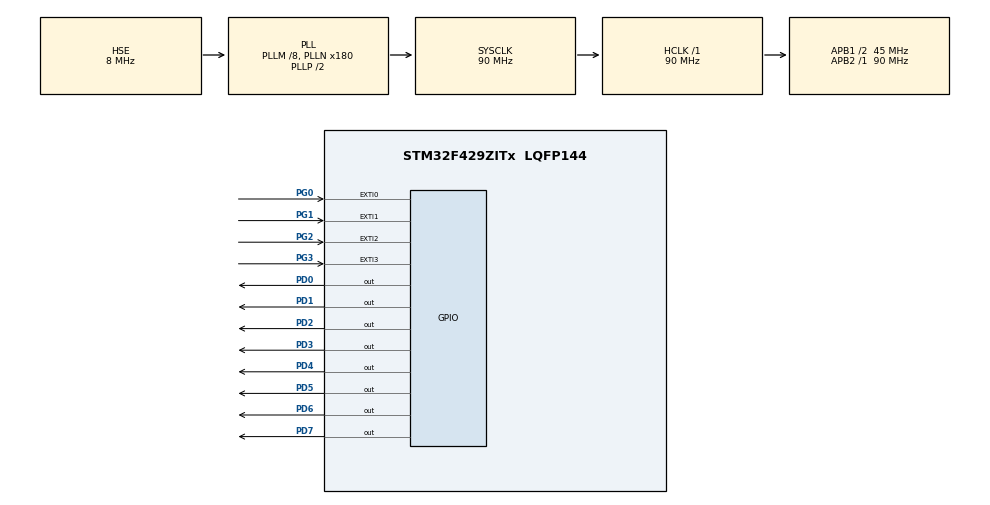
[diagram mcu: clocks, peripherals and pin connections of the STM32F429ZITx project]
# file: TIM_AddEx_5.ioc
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Mcu.Family=STM32F4
Mcu.Name=STM32F429ZITx
Mcu.Package=LQFP144
NVIC.EXTI0_IRQn=true\:0\:0\:false\:false\:true\:true\:true\:true
NVIC.EXTI1_IRQn=true\:0\:0\:false\:false\:true\:true\:true\:true
NVIC.EXTI2_IRQn=true\:0\:0\:false\:false\:true\:true\:true\:true
NVIC.EXTI3_IRQn=true\:0\:0\:false\:false\:true\:true\:true\:true
NVIC.PriorityGroup=NVIC_PRIORITYGROUP_4
NVIC.TIM2_IRQn=true\:0\:0\:false\:false\:true\:true\:true\:true
PA13.Mode=Serial_Wire
PA13.Signal=SYS_JTMS-SWDIO
PA14.Mode=Serial_Wire
PA14.Signal=SYS_JTCK-SWCLK
PD0.GPIO_ModeDefaultOutputPP=GPIO_MODE_OUTPUT_PP
PD0.GPIO_PuPd=GPIO_PULLUP
PD0.GPIO_Speed=GPIO_SPEED_FREQ_HIGH
PD0.PinState=GPIO_PIN_RESET
PD0.Signal=GPIO_Output
PD1.GPIO_ModeDefaultOutputPP=GPIO_MODE_OUTPUT_PP
PD1.GPIO_PuPd=GPIO_PULLUP
PD1.GPIO_Speed=GPIO_SPEED_FREQ_HIGH
PD1.PinState=GPIO_PIN_RESET
PD1.Signal=GPIO_Output
PD2.GPIO_ModeDefaultOutputPP=GPIO_MODE_OUTPUT_PP
PD2.GPIO_PuPd=GPIO_PULLUP
PD2.GPIO_Speed=GPIO_SPEED_FREQ_HIGH
PD2.PinState=GPIO_PIN_RESET
PD2.Signal=GPIO_Output
PD3.GPIO_ModeDefaultOutputPP=GPIO_MODE_OUTPUT_PP
PD3.GPIO_PuPd=GPIO_PULLUP
PD3.GPIO_Speed=GPIO_SPEED_FREQ_HIGH
PD3.PinState=GPIO_PIN_RESET
PD3.Signal=GPIO_Output
PD4.GPIO_ModeDefaultOutputPP=GPIO_MODE_OUTPUT_PP
PD4.GPIO_PuPd=GPIO_PULLUP
PD4.GPIO_Speed=GPIO_SPEED_FREQ_HIGH
PD4.PinState=GPIO_PIN_RESET
PD4.Signal=GPIO_Output
PD5.GPIO_ModeDefaultOutputPP=GPIO_MODE_OUTPUT_PP
PD5.GPIO_PuPd=GPIO_PULLUP
PD5.GPIO_Speed=GPIO_SPEED_FREQ_HIGH
PD5.PinState=GPIO_PIN_RESET
PD5.Signal=GPIO_Output
PD6.GPIO_ModeDefaultOutputPP=GPIO_MODE_OUTPUT_PP
PD6.GPIO_PuPd=GPIO_PULLUP
PD6.GPIO_Speed=GPIO_SPEED_FREQ_HIGH
PD6.PinState=GPIO_PIN_RESET
PD6.Signal=GPIO_Output
PD7.GPIO_ModeDefaultOutputPP=GPIO_MODE_OUTPUT_PP
PD7.GPIO_PuPd=GPIO_PULLUP
PD7.GPIO_Speed=GPIO_SPEED_FREQ_HIGH
PD7.PinState=GPIO_PIN_RESET
PD7.Signal=GPIO_Output
PG0.GPIO_ModeDefaultEXTI=GPIO_MODE_IT_FALLING
PG0.GPIO_PuPd=GPIO_NOPULL
PG0.Signal=GPXTI0
PG1.GPIO_ModeDefaultEXTI=GPIO_MODE_IT_FALLING
PG1.GPIO_PuPd=GPIO_NOPULL
PG1.Signal=GPXTI1
PG2.GPIO_ModeDefaultEXTI=GPIO_MODE_IT_FALLING
PG2.GPIO_PuPd=GPIO_NOPULL
PG2.Signal=GPXTI2
PG3.GPIO_ModeDefaultEXTI=GPIO_MODE_IT_FALLING
PG3.GPIO_PuPd=GPIO_NOPULL
PG3.Signal=GPXTI3
PH0/OSC_IN.Mode=HSE-External-Clock-Source
PH0/OSC_IN.Signal=RCC_OSC_IN
PH1/OSC_OUT.Mode=HSE-External-Clock-Source
PH1/OSC_OUT.Signal=RCC_OSC_OUT
ProjectManager.HeapSize=0x200
ProjectManager.StackSize=0x400
ProjectManager.TargetToolchain=STM32CubeIDE
RCC.48MHZClocksFreq_Value=45000000
RCC.AHBFreq_Value=90000000
RCC.APB1CLKDivider=RCC_HCLK_DIV2
RCC.APB1Freq_Value=45000000
RCC.APB1TimFreq_Value=90000000
RCC.APB2Freq_Value=90000000
RCC.APB2TimFreq_Value=90000000
RCC.CortexFreq_Value=90000000
RCC.HCLKFreq_Value=90000000
RCC.HSE_VALUE=8000000
RCC.HSI_VALUE=16000000
RCC.LSE_VALUE=32768
RCC.PLLM=8
RCC.PLLN=180
RCC.PLLSourceVirtual=RCC_PLLSOURCE_HSE
RCC.SYSCLKFreq_VALUE=90000000
RCC.SYSCLKSource=RCC_SYSCLKSOURCE_PLLCLK
RCC.VCOOutputFreq_Value=180000000
TIM2.Channel-Output\ Compare1\ No\ Output=TIM_CHANNEL_1
TIM2.Period=9999
TIM2.Prescaler=8999
TIM2.Pulse-Output\ Compare1\ No\ Output=4999
VP_TIM2_VS_ClockSourceINT.Mode=Internal
VP_TIM2_VS_no_output1.Mode=Output Compare1 No Output
board=custom

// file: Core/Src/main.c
/* USER CODE BEGIN Header */
/**
  ******************************************************************************
  * @file           : main.c
  * @brief          : Main program body
  ******************************************************************************
  * @attention
  *
  * Copyright (c) 2023 STMicroelectronics.
  * All rights reserved.
  *
  * This software is licensed under terms that can be found in the LICENSE file
  * in the root directory of this software component.
  * If no LICENSE file comes with this software, it is provided AS-IS.
  *
  ******************************************************************************
  */
/* USER CODE END Header */
#include "main.h"

TIM_HandleTypeDef htim2;

/* USER CODE BEGIN PV */

int period = 9999;
int bright = 4999;

/* USER CODE END PV */

void SystemClock_Config(void);
static void MX_GPIO_Init(void);
static void MX_TIM2_Init(void);
/* USER CODE BEGIN PFP */

void LED_OnOff(int, int);

/* USER CODE END PFP */

int main(void)
{

  /* MCU Configuration--------------------------------------------------------*/

  /* Reset of all peripherals, Initializes the Flash interface and the Systick. */
  HAL_Init();

  /* Configure the system clock */
  SystemClock_Config();

  /* Initialize all configured peripherals */
  MX_GPIO_Init();
  MX_TIM2_Init();
  /* USER CODE BEGIN 2 */

  LED_OnOff(LED_ALL, 500);

  HAL_TIM_Base_Start_IT(&htim2);
  HAL_TIM_OC_Start_IT(&htim2, TIM_CHANNEL_1);

  /* USER CODE END 2 */

  /* Infinite loop */
  while (1)
  {

  }
}

void SystemClock_Config(void)
{
  RCC_OscInitTypeDef RCC_OscInitStruct = {0};
  RCC_ClkInitTypeDef RCC_ClkInitStruct = {0};

  /** Configure the main internal regulator output voltage
  */
  __HAL_RCC_PWR_CLK_ENABLE();
  __HAL_PWR_VOLTAGESCALING_CONFIG(PWR_REGULATOR_VOLTAGE_SCALE3);

  /** Initializes the RCC Oscillators according to the specified parameters
  * in the RCC_OscInitTypeDef structure.
  */
  RCC_OscInitStruct.OscillatorType = RCC_OSCILLATORTYPE_HSE;
  RCC_OscInitStruct.HSEState = RCC_HSE_BYPASS;
  RCC_OscInitStruct.PLL.PLLState = RCC_PLL_ON;
  RCC_OscInitStruct.PLL.PLLSource = RCC_PLLSOURCE_HSE;
  RCC_OscInitStruct.PLL.PLLM = 8;
  RCC_OscInitStruct.PLL.PLLN = 180;
  RCC_OscInitStruct.PLL.PLLP = RCC_PLLP_DIV2;
  RCC_OscInitStruct.PLL.PLLQ = 4;
  if (HAL_RCC_OscConfig(&RCC_OscInitStruct) != HAL_OK)
  {
    Error_Handler();
  }

  /** Activate the Over-Drive mode
  */
  if (HAL_PWREx_EnableOverDrive() != HAL_OK)
  {
    Error_Handler();
  }

  /** Initializes the CPU, AHB and APB buses clocks
  */
  RCC_ClkInitStruct.ClockType = RCC_CLOCKTYPE_HCLK|RCC_CLOCKTYPE_SYSCLK
                              |RCC_CLOCKTYPE_PCLK1|RCC_CLOCKTYPE_PCLK2;
  RCC_ClkInitStruct.SYSCLKSource = RCC_SYSCLKSOURCE_PLLCLK;
  RCC_ClkInitStruct.AHBCLKDivider = RCC_SYSCLK_DIV1;
  RCC_ClkInitStruct.APB1CLKDivider = RCC_HCLK_DIV2;
  RCC_ClkInitStruct.APB2CLKDivider = RCC_HCLK_DIV1;

  if (HAL_RCC_ClockConfig(&RCC_ClkInitStruct, FLASH_LATENCY_2) != HAL_OK)
  {
    Error_Handler();
  }
}

static void MX_TIM2_Init(void)
{

  TIM_ClockConfigTypeDef sClockSourceConfig = {0};
  TIM_MasterConfigTypeDef sMasterConfig = {0};
  TIM_OC_InitTypeDef sConfigOC = {0};

  htim2.Instance = TIM2;
  htim2.Init.Prescaler = 8999;
  htim2.Init.CounterMode = TIM_COUNTERMODE_UP;
  htim2.Init.Period = 9999;
  htim2.Init.ClockDivision = TIM_CLOCKDIVISION_DIV1;
  htim2.Init.AutoReloadPreload = TIM_AUTORELOAD_PRELOAD_DISABLE;
  if (HAL_TIM_Base_Init(&htim2) != HAL_OK)
  {
    Error_Handler();
  }
  sClockSourceConfig.ClockSource = TIM_CLOCKSOURCE_INTERNAL;
  if (HAL_TIM_ConfigClockSource(&htim2, &sClockSourceConfig) != HAL_OK)
  {
    Error_Handler();
  }
  if (HAL_TIM_OC_Init(&htim2) != HAL_OK)
  {
    Error_Handler();
  }
  sMasterConfig.MasterOutputTrigger = TIM_TRGO_RESET;
  sMasterConfig.MasterSlaveMode = TIM_MASTERSLAVEMODE_DISABLE;
  if (HAL_TIMEx_MasterConfigSynchronization(&htim2, &sMasterConfig) != HAL_OK)
  {
    Error_Handler();
  }
  sConfigOC.OCMode = TIM_OCMODE_TIMING;
  sConfigOC.Pulse = 4999;
  sConfigOC.OCPolarity = TIM_OCPOLARITY_HIGH;
  sConfigOC.OCFastMode = TIM_OCFAST_DISABLE;
  if (HAL_TIM_OC_ConfigChannel(&htim2, &sConfigOC, TIM_CHANNEL_1) != HAL_OK)
  {
    Error_Handler();
  }

}

static void MX_GPIO_Init(void)
{
  GPIO_InitTypeDef GPIO_InitStruct = {0};

  /* GPIO Ports Clock Enable */
  __HAL_RCC_GPIOH_CLK_ENABLE();
  __HAL_RCC_GPIOG_CLK_ENABLE();
  __HAL_RCC_GPIOA_CLK_ENABLE();
  __HAL_RCC_GPIOD_CLK_ENABLE();

  /*Configure GPIO pin Output Level */
  HAL_GPIO_WritePin(GPIOD, GPIO_PIN_0|GPIO_PIN_1|GPIO_PIN_2|GPIO_PIN_3
                          |GPIO_PIN_4|GPIO_PIN_5|GPIO_PIN_6|GPIO_PIN_7, GPIO_PIN_RESET);

  /*Configure GPIO pins : PG0 PG1 PG2 PG3 */
  GPIO_InitStruct.Pin = GPIO_PIN_0|GPIO_PIN_1|GPIO_PIN_2|GPIO_PIN_3;
  GPIO_InitStruct.Mode = GPIO_MODE_IT_FALLING;
  GPIO_InitStruct.Pull = GPIO_NOPULL;
  HAL_GPIO_Init(GPIOG, &GPIO_InitStruct);

  /*Configure GPIO pins : PD0 PD1 PD2 PD3
                           PD4 PD5 PD6 PD7 */
  GPIO_InitStruct.Pin = GPIO_PIN_0|GPIO_PIN_1|GPIO_PIN_2|GPIO_PIN_3
                          |GPIO_PIN_4|GPIO_PIN_5|GPIO_PIN_6|GPIO_PIN_7;
  GPIO_InitStruct.Mode = GPIO_MODE_OUTPUT_PP;
  GPIO_InitStruct.Pull = GPIO_PULLUP;
  GPIO_InitStruct.Speed = GPIO_SPEED_FREQ_HIGH;
  HAL_GPIO_Init(GPIOD, &GPIO_InitStruct);

  /* EXTI interrupt init*/
  HAL_NVIC_SetPriority(EXTI0_IRQn, 0, 0);
  HAL_NVIC_EnableIRQ(EXTI0_IRQn);

  HAL_NVIC_SetPriority(EXTI1_IRQn, 0, 0);
  HAL_NVIC_EnableIRQ(EXTI1_IRQn);

  HAL_NVIC_SetPriority(EXTI2_IRQn, 0, 0);
  HAL_NVIC_EnableIRQ(EXTI2_IRQn);

  HAL_NVIC_SetPriority(EXTI3_IRQn, 0, 0);
  HAL_NVIC_EnableIRQ(EXTI3_IRQn);

}

/* USER CODE BEGIN 4 */

void LED_OnOff(int led, int interval)
{
	HAL_GPIO_WritePin(GPIO_LED, led, GPIO_PIN_SET );
	HAL_GPIO_WritePin(GPIO_LED_Nucleo, led, GPIO_PIN_SET );
	HAL_Delay(interval);
	HAL_GPIO_WritePin(GPIO_LED, led, GPIO_PIN_RESET );
	HAL_GPIO_WritePin(GPIO_LED_Nucleo, led, GPIO_PIN_RESET );
}
void HAL_TIM_PeriodElapsedCallback(TIM_HandleTypeDef *htim)
{
	if ( htim->Instance == TIM2){
		HAL_GPIO_WritePin(GPIO_LED, LED1 | LED3 | LED5 | LED7, GPIO_PIN_SET);

	}

}
void HAL_TIM_OC_DelayElapsedCallback(TIM_HandleTypeDef *htim)
{
	if ( htim->Instance == TIM2){
		HAL_GPIO_WritePin(GPIO_LED, LED1 | LED3 | LED5 | LED7, GPIO_PIN_RESET);

	}
}
void HAL_GPIO_EXTI_Callback(uint16_t GPIO_PIN)
{
	TIM_OC_InitTypeDef sConfigOC = {0};
	if ( GPIO_PIN == SW1){
		__HAL_TIM_SET_AUTORELOAD(&htim2, period);
		__HAL_TIM_SET_PRESCALER(&htim2, 8999);
		sConfigOC.Pulse = period/2;
		period = period - 10;
		if(period<=0){
			period = 2;
		}

		HAL_TIM_OC_ConfigChannel(&htim2, &sConfigOC, TIM_CHANNEL_1);
	}
	if ( GPIO_PIN == SW2){
		__HAL_TIM_SET_AUTORELOAD(&htim2, period);
		__HAL_TIM_SET_PRESCALER(&htim2, 8999);
		sConfigOC.Pulse = period/2;
		period = period + 10;

		HAL_TIM_OC_ConfigChannel(&htim2, &sConfigOC, TIM_CHANNEL_1);
	}
	if ( GPIO_PIN == SW3){
		sConfigOC.Pulse = bright;
		__HAL_TIM_SET_PRESCALER(&htim2, 0);
		bright = bright - 100;
		if(bright<=0){
			bright = 99;
		}

		HAL_TIM_OC_ConfigChannel(&htim2, &sConfigOC, TIM_CHANNEL_1);
	}
	if ( GPIO_PIN == SW4){
		sConfigOC.Pulse = bright;
		__HAL_TIM_SET_PRESCALER(&htim2, 0);
		bright = bright + 100;
		if(bright>=9999){
			bright = 9999;
		}
		HAL_TIM_OC_ConfigChannel(&htim2, &sConfigOC, TIM_CHANNEL_1);
	}
//	HAL_TIM_OC_ConfigChannel(&htim5, &sConfigOC, TIM_CHANNEL_1);
}

/* USER CODE END 4 */

void Error_Handler(void)
{
  __disable_irq();
  while (1)
  {
  }
}
